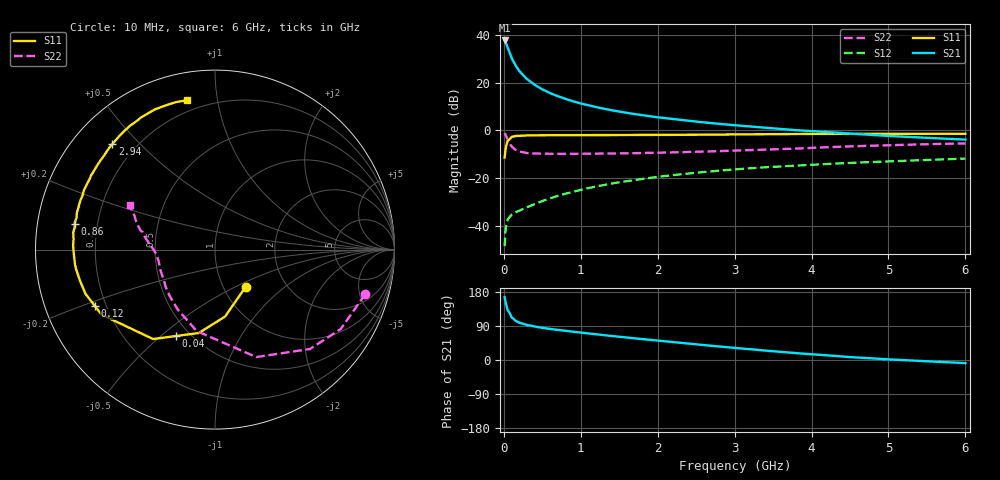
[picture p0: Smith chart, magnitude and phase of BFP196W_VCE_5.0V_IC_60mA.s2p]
! Infineon Technologies  Discrete & RF Semiconductors
! BFP196W
! VCE = 5.0 V,  IC =  60mA
! Common Emitter S-Parameters:  Jan 2016
# GHz  S  MA  R  50
!  f  S11  S21  S12  S22
! GHz  MAG  ANG  MAG  ANG  MAG  ANG  MAG  ANG
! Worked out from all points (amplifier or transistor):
!   210 points, 10 MHz to 6 GHz, reference 50 ohm
!   highest |S21| = 37.8 dB at 10 MHz (marker M1)
!   |S21| within 3 dB of that: start of sweep to 48.81 MHz
!   unconditionally stable (mu >= 1): 577.9 MHz to 3.485 GHz; 3.768 GHz to 3.807 GHz
!   at 185 MHz: K = 0.59, MSG = 29.8 dB, |S12| = -33.9 dB
!   at 1.52 GHz: K = 1.11, MAG = 12.8 dB, |S12| = -21.7 dB
!   at 6 GHz: K = 0.96, MSG = 4.0 dB, |S12| = -11.8 dB
!   S11 on the Smith chart (normalised r, x): 10 MHz: 1.27, -0.57; 40 MHz: 0.42, -0.56; 120 MHz: 0.16, -0.22; 860 MHz: 0.12, +0.09; 2.94 GHz: 0.12, +0.42; 6 GHz: 0.14, +0.82
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0.01  0.2685 -50.2  77.33 165.9  0.0037 78.8  0.8734 -16.5
0.02  0.377 -81.4  73.76 155.7  0.0074 67.7  0.8286 -32.3
0.03  0.4734 -101.0  67.39 145.9  0.0099 60.9  0.766 -46.3
0.04  0.5284 -114.3  60.21 139.2  0.0116 54.7  0.6899 -56.6
0.05  0.6061 -124.7  54.07 130.9  0.0134 50.1  0.6412 -69.0
0.1  0.7282 -150.1  33.22 112.5  0.0169 40.6  0.465 -102.7
0.12  0.7386 -154.7  29.16 109.6  0.0177 40.3  0.4306 -109.6
0.15  0.7627 -161.2  23.27 103.4  0.0189 39.9  0.3931 -122.0
0.2  0.7717 -167.0  17.7 98.6  0.0206 41.8  0.3616 -134.1
0.26  0.7807 -171.6  13.88 94.6  0.0227 45.8  0.3442 -143.0
0.3  0.7844 -173.8  11.94 92.5  0.0242 47.4  0.3341 -147.9
0.4  0.7872 -178.4  9.028 88.2  0.0283 51.9  0.3269 -155.3
0.5  0.7907 178.4  7.263 84.8  0.0328 55.3  0.3241 -160.3
0.6  0.7902 175.7  6.06 82.0  0.0373 57.8  0.3214 -163.8
0.86  0.794 169.7  4.272 75.6  0.0496 61.0  0.3213 -169.0
1.02  0.7923 166.7  3.603 72.0  0.0575 61.7  0.3229 -171.2
2.02  0.8044 149.0  1.868 50.6  0.1064 58.3  0.3396 -179.3
2.94  0.8199 134.2  1.308 33.1  0.1488 50.6  0.3732 173.8
3.1  0.8239 131.8  1.244 30.3  0.1556 49.1  0.3807 172.4
4.1  0.8443 118.0  0.944 13.8  0.1937 40.4  0.4364 164.5
5.1  0.8491 107.7  0.75 0.7  0.2264 32.3  0.4909 156.8
6  0.8465 100.6  0.641 -8.2  0.2557 26.0  0.5331 152.4
